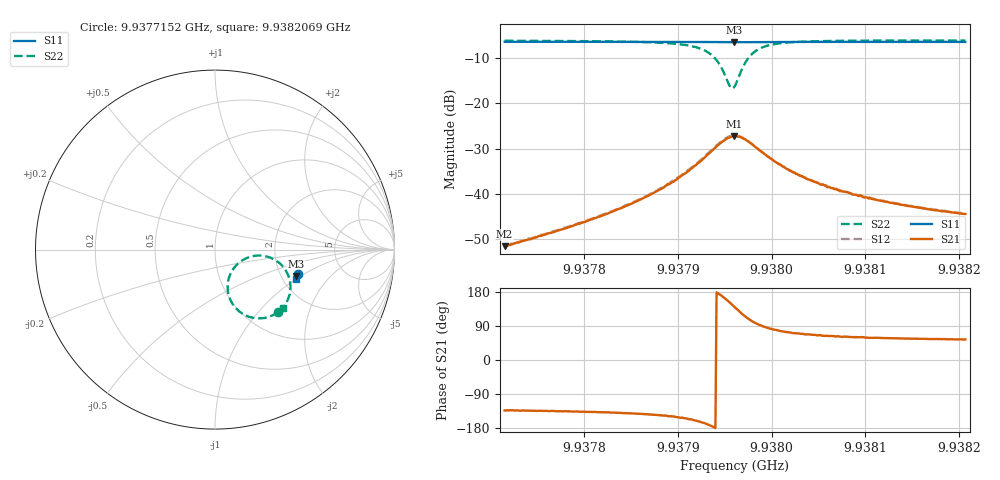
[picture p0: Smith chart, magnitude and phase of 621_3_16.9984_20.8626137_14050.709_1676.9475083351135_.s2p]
#  HZ  S  RI  R  50.00
! Rohde & Schwarz Vector Network Analyzer
! Rohde-Schwarz,ZNB20-2Port,1311601062101988,3.16
! Created: UTC 3/20/2024, 11:19:57 PM
! freq[Hz]  re:S11  im:S11  re:S21  im:S21  re:S12  im:S12  re:S22  im:S22
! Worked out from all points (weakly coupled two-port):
!   401 points, 9.9377152 GHz to 9.9382069 GHz, reference 50 ohm
!   highest |S21| = -27.26 dB at 9.9379598 GHz (marker M1); lowest = -51.6 dB at 9.9377152 GHz (marker M2)
!   lowest |S11| = -6.5 dB at 9.9379598 GHz (marker M3), VSWR 2.81, Z = 120 - j46.1 ohm
!   |S11| at or under -10 dB: nowhere
!   |S22| runs from -16.7 to -6.1 dB; largest |S21 - S12| = 0.0022
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9.93771519e9  0.4623 -0.1355  -0.00179 -0.00192  -0.00182 -0.00194  0.3505 -0.3484
9.93779754e9  0.4602 -0.1411  -0.00347 -0.00326  -0.00353 -0.0033  0.3309 -0.3607
9.93783688e9  0.459 -0.144  -0.00516 -0.00442  -0.00528 -0.00441  0.3139 -0.3691
9.9378799e9  0.4575 -0.1469  -0.0091 -0.0062  -0.00937 -0.00621  0.2777 -0.3802
9.93791186e9  0.456 -0.1495  -0.0164 -0.00727  -0.0171 -0.00723  0.215 -0.3806
9.9379303e9  0.4543 -0.1505  -0.0257 -0.00525  -0.0265 -0.0049  0.1428 -0.3502
9.93794013e9  0.4531 -0.1507  -0.0324 -0.000215  -0.0334 0.00071  0.0948 -0.2977
9.93794505e9  0.4525 -0.1506  -0.0357 0.00465  -0.0366 0.00597  0.0763 -0.2537
9.93794874e9  0.452 -0.1502  -0.0374 0.00945  -0.0383 0.0109  0.0703 -0.2125
9.93795611e9  0.4516 -0.1493  -0.037 0.0213  -0.0369 0.0232  0.0946 -0.119
9.9379598e9  0.4516 -0.1488  -0.034 0.0269  -0.0336 0.0291  0.1283 -0.078
9.93796103e9  0.4518 -0.1486  -0.0326 0.0286  -0.0322 0.0306  0.1421 -0.0668
9.93796717e9  0.4526 -0.1482  -0.024 0.0348  -0.023 0.036  0.2209 -0.0347
9.93797332e9  0.4535 -0.1482  -0.0149 0.0361  -0.0136 0.0371  0.2947 -0.0401
9.93797947e9  0.4542 -0.1486  -0.00737 0.0344  -0.00636 0.0348  0.3488 -0.067
9.93798561e9  0.4548 -0.1492  -0.00232 0.0312  -0.00143 0.0314  0.383 -0.0999
9.93800528e9  0.4553 -0.1514  0.00416 0.0218  0.00485 0.0218  0.4189 -0.1849
9.93802372e9  0.455 -0.1533  0.00569 0.0163  0.00609 0.0163  0.4192 -0.2305
9.93804338e9  0.4547 -0.1549  0.00542 0.0127  0.00583 0.0127  0.4131 -0.259
9.93807289e9  0.4539 -0.1571  0.00505 0.00942  0.00531 0.00957  0.4033 -0.284
9.93812574e9  0.4525 -0.1609  0.00428 0.00673  0.00447 0.00675  0.3903 -0.3074
9.93820687e9  0.4504 -0.1663  0.00348 0.00485  0.00361 0.00485  0.377 -0.3252
